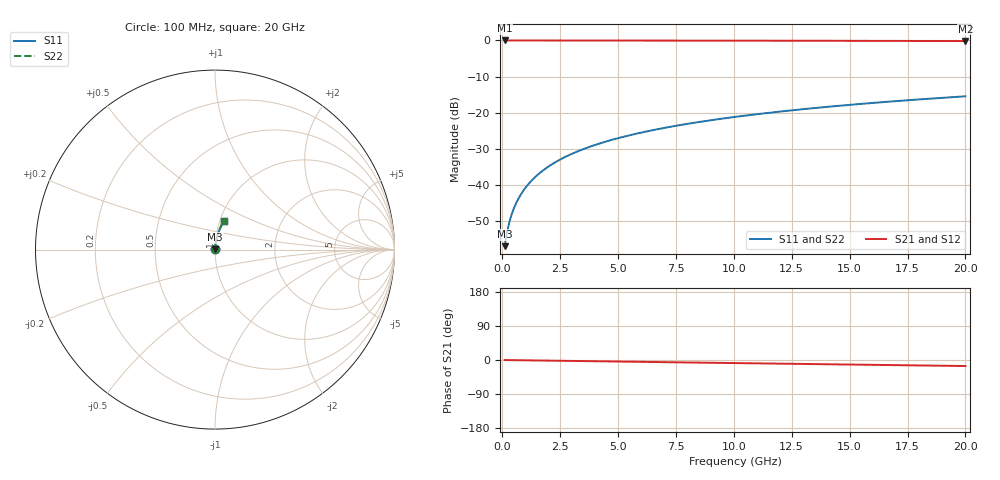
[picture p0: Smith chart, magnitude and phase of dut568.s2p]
! Touchstone file exported from HFSS 2026.1.0
!  File:  C:/ffzhzh/LocalFiles/Ansys_Project_Files/temp_train_TMRDL_568_1783008002_53980.aedt
!  Generated:  12:01:29 AM Jul  3, 2026
!  Design:  TMRDL
!  Project:  temp_train_TMRDL_568_1783008002_53980
! Variables:
!  h_bsmrdl = 2um
!  h_ox = 20um
!  h_rdl = 5um
!  h_sub = 80um
!  h_tmrdl = 4.48um
!  h_tsv = 80um
!  h_via = 3um
!  l_bsmrdl = 300um
!  l_sub = 595.37um
!  l_tmrdl = 195.37um
!  m_sub = 200um
!  pitch = 42.96um
!  r_tsv = 6um
!  s_tmrdl = 10um
!  w_bsmrdl = 18um
!  w_sub = 500um
!  w_tmrdl = 16.94um
!  x_tsv_center1 = 203.84um
!  x_tsv_center2 = 521.84um
!  x_tsv_center3 = 734.15um
!  x_tsv_center4 = 1052.15um
!  x_tsv_center5 = 1264.46um
!  x_tsv_center6 = 1582.46um
# GHz S MA R 50.000000
! Terminal data exported
! Port[1] = TM_RDL1_1_T1
! Port[2] = TM_RDL1_1_T2
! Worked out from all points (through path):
!   200 points, 100 MHz to 20 GHz, reference 50 ohm
!   highest |S21| = -0.01 dB at 100 MHz (marker M1); lowest = -0.2 dB at 20 GHz (marker M2)
!   group delay of S21, straight-line fit = 2.21 ps
!   lowest |S11| = -56.9 dB at 100 MHz (marker M3), VSWR 1.00, Z = 50.1 + j0.0963 ohm
!   |S11| at or under -10 dB: start of sweep to end of sweep
!   |S22| runs from -56.9 to -15.4 dB; largest |S21 - S12| = 4.2e-15
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0.1  0.001431 42.2  0.9989 -0.1  0.9989 -0.1  0.001431 42.2
! Gamma 0 0 0 0
! Port Impedance 50 0 50 0
0.2  0.002196 59.8  0.9989 -0.2  0.9989 -0.2  0.002196 59.8
0.3  0.003038 67.7  0.9989 -0.3  0.9989 -0.3  0.003038 67.7
0.4  0.003898 72.1  0.9988 -0.3  0.9988 -0.3  0.003898 72.1
0.5  0.004767 75.0  0.9988 -0.4  0.9988 -0.4  0.004767 75.0
0.6  0.005643 77.0  0.9988 -0.5  0.9988 -0.5  0.005643 77.0
0.8  0.007408 79.6  0.9987 -0.7  0.9987 -0.7  0.007408 79.6
1.1  0.01007 81.7  0.9986 -0.9  0.9986 -0.9  0.01007 81.7
1.5  0.01365 83.0  0.9985 -1.2  0.9985 -1.2  0.01365 83.0
1.8  0.01633 83.6  0.9985 -1.5  0.9985 -1.5  0.01633 83.6
2.1  0.019 83.8  0.9983 -1.7  0.9983 -1.7  0.019 83.8
2.7  0.02434 84.0  0.9981 -2.2  0.9981 -2.2  0.02434 84.0
3.5  0.03142 83.8  0.9977 -2.9  0.9977 -2.9  0.03142 83.8
4.2  0.03757 83.5  0.9973 -3.4  0.9973 -3.4  0.03757 83.5
5  0.04455 83.0  0.9968 -4.1  0.9968 -4.1  0.04455 83.0
5.9  0.05233 82.5  0.9962 -4.8  0.9962 -4.8  0.05233 82.5
6.8  0.06007 81.9  0.9955 -5.5  0.9955 -5.5  0.06007 81.9
8.3  0.07285 80.9  0.9943 -6.7  0.9943 -6.7  0.07285 80.9
10.1  0.08804 79.6  0.9927 -8.2  0.9927 -8.2  0.08804 79.6
13.4  0.1155 77.2  0.9893 -10.8  0.9893 -10.8  0.1155 77.2
16.7  0.1425 74.9  0.9853 -13.4  0.9853 -13.4  0.1425 74.9
20  0.1689 72.4  0.9808 -15.9  0.9808 -15.9  0.1689 72.4
